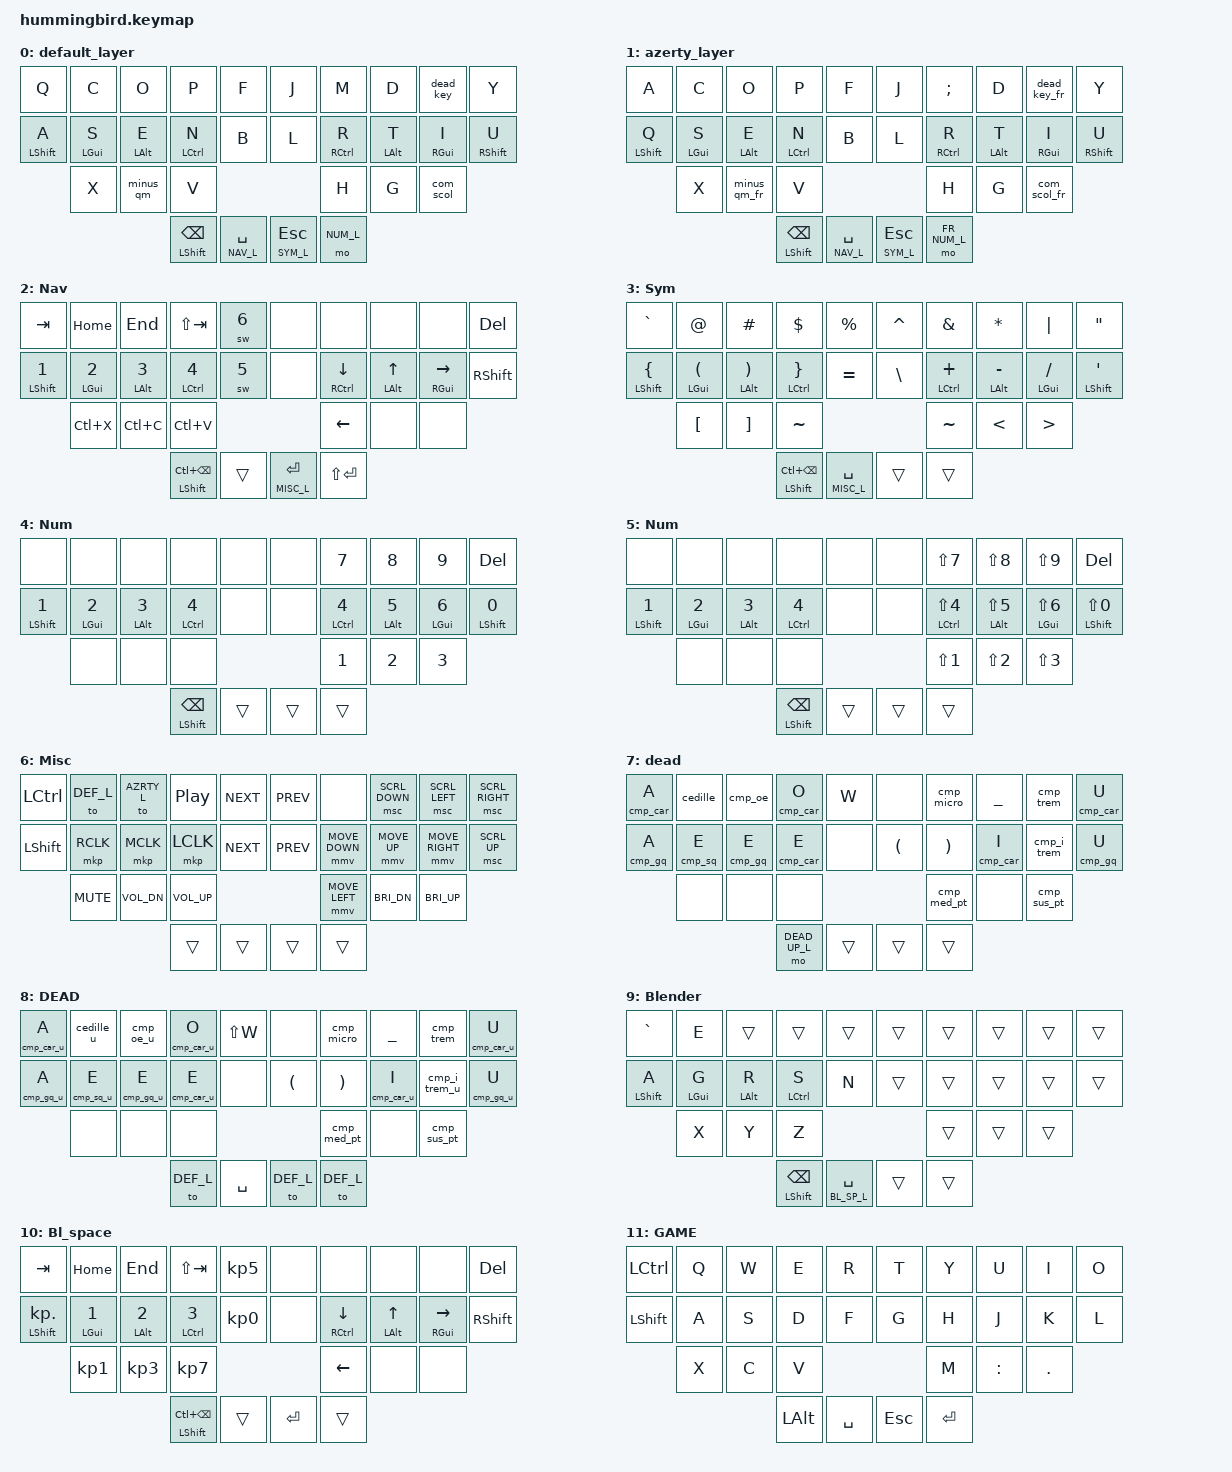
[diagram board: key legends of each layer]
/*
 * Copyright (c) 2022 The ZMK Contributors
 *
 * SPDX-License-Identifier: MIT
 */

#include <behaviors.dtsi>
#include <dt-bindings/zmk/keys.h>
#include <dt-bindings/zmk/pointing.h>

#define DEF_L 0
#define AZRTY_L 1
#define NAV_L 2
#define SYM_L 3
#define NUM_L 4
#define FR_NUM_L 5
#define MISC_L 6
#define DEAD_L 7
#define DEAD_UP_L 8
#define BLENDER_L 9
#define BL_SP_L 10
#define GAME_L 11

#define COMPOSE_KEY RALT

// Using layer taps on thumbs, having quick tap as well helps w/ repeating space/backspace
&lt { quick-tap-ms = <200>; };

/ {
    behaviors {
        hm: homerow_mods {
            compatible = "zmk,behavior-hold-tap";
            #binding-cells = <2>;
            tapping-term-ms = <225>;
            flavor = "tap-preferred";
            bindings = <&kp>, <&kp>;
        };
        hp: hold_preferred {
            compatible = "zmk,behavior-hold-tap";
            #binding-cells = <2>;
            tapping-term-ms = <225>;
            flavor = "hold-preferred";
            bindings = <&kp>, <&kp>;
        };
        swm: switch_workspace_mods {
            compatible = "zmk,behavior-hold-tap";
            #binding-cells = <2>;
            tapping-term-ms = <225>;
            flavor = "tap-preferred";
            bindings = <&kp>, <&sw>;
        };
        lkm: leader_key_mods {
            compatible = "zmk,behavior-hold-tap";
            #binding-cells = <2>;
            tapping-term-ms = <225>;
            flavor = "tap-preferred";
            bindings = <&mo>, <&sl>;
        };

        dot_col: dot_colon {
            compatible = "zmk,behavior-mod-morph";
            #binding-cells = <0>;
            bindings = <&kp DOT>, <&kp COLON>;
            mods = <(MOD_LSFT|MOD_RSFT)>;
        };

        com_scol: comma_semicolon {
            compatible = "zmk,behavior-mod-morph";
            #binding-cells = <0>;
            bindings = <&kp COMMA>, <&kp SEMICOLON>;
            mods = <(MOD_LSFT|MOD_RSFT)>;
        };

        com_scol_fr: comma_semicolon_azerty {
            compatible = "zmk,behavior-mod-morph";
            #binding-cells = <0>;
            bindings = <&kp M>, <&kp COMMA>;
            mods = <(MOD_LSFT|MOD_RSFT)>;
        };

        minus_qm: minus_question {
            compatible = "zmk,behavior-mod-morph";
            #binding-cells = <0>;
            bindings = <&kp MINUS>, <&kp QUESTION>;
            mods = <(MOD_LSFT|MOD_RSFT)>;
        };

        minus_qm_fr: minus_question_azerty {
            compatible = "zmk,behavior-mod-morph";
            #binding-cells = <0>;
            bindings = <&kp N6>, <&kp LS(M)>;
            mods = <(MOD_LSFT|MOD_RSFT)>;
        };

        dead_key: dead_key {
            compatible = "zmk,behavior-mod-morph";
            #binding-cells = <0>;
            bindings = <&sl DEAD_L>, <&kp EXCL>;
            mods = <(MOD_LSFT|MOD_RSFT)>;
        };

        dead_key_fr: dead_key_azerty {
            compatible = "zmk,behavior-mod-morph";
            #binding-cells = <0>;
            bindings = <&sl DEAD_L>, <&kp SLASH>;
            mods = <(MOD_LSFT|MOD_RSFT)>;
        };

        mtd: media_tap_dance {
            compatible = "zmk,behavior-tap-dance";
            #binding-cells = <0>;
            tapping-term-ms = <350>;
            bindings = <&kp C_PP>, <&kp C_NEXT>, <&kp C_PREV>;
        };
    };

    macros {
        sw: switch_workspace {
            compatible = "zmk,behavior-macro-one-param";
            #binding-cells = <1>;
            bindings
                = < &macro_press &kp LGUI >
                , < &macro_press &kp LALT >
                , < &macro_press &kp LSHFT >
                , < &macro_param_1to1 >
                , < &macro_tap &kp MACRO_PLACEHOLDER >
                , < &macro_release &kp LSHFT >
                , < &macro_release &kp LALT >
                , < &macro_release &kp LGUI >
                ;
        };

        cmp_sq: compose_accents_single_quote {
            compatible = "zmk,behavior-macro-one-param";
            #binding-cells = <1>;
            bindings
                = < &macro_tap &kp COMPOSE_KEY >
                , < &macro_tap &kp SINGLE_QUOTE >
                , < &macro_param_1to1 >
                , < &macro_tap &kp MACRO_PLACEHOLDER >
                ;
        };

        cmp_gq: compose_accents_grave_quote {
            compatible = "zmk,behavior-macro-one-param";
            #binding-cells = <1>;
            bindings
                = < &macro_tap &kp COMPOSE_KEY >
                , < &macro_tap &kp GRAVE >
                , < &macro_param_1to1 >
                , < &macro_tap &kp MACRO_PLACEHOLDER >
                ;
        };

        cmp_car: compose_accents_caret {
            compatible = "zmk,behavior-macro-one-param";
            #binding-cells = <1>;
            bindings
                = < &macro_tap &kp COMPOSE_KEY >
                , < &macro_tap &kp CARET >
                , < &macro_param_1to1 >
                , < &macro_tap &kp MACRO_PLACEHOLDER >
                ;
        };

        cedille: compose_cedille {
            compatible = "zmk,behavior-macro";
            #binding-cells = <0>;
            bindings
                = < &macro_tap_time 5>
                , < &macro_tap &kp COMPOSE_KEY >
                , < &macro_tap &kp COMMA >
                , < &macro_tap &kp C >
                ;
        };

        cmp_oe: compose_oe_char {
            compatible = "zmk,behavior-macro";
            #binding-cells = <0>;
            bindings
                = < &macro_tap &kp COMPOSE_KEY >
                , < &macro_tap &kp O >
                , < &macro_tap &kp E >
                ;
        };

        cmp_micro: compose_micro_char {
            compatible = "zmk,behavior-macro";
            #binding-cells = <0>;
            bindings
                = < &macro_tap &kp COMPOSE_KEY >
                , < &macro_tap &kp M >
                , < &macro_tap &kp U >
                ;
        };

        cmp_i_trem: compose_i_trema {
            compatible = "zmk,behavior-macro";
            #binding-cells = <0>;
            bindings
                = < &macro_tap &kp COMPOSE_KEY >
                , < &macro_tap &kp DOUBLE_QUOTES >
                , < &macro_tap &kp I >
                ;
        };

        cmp_trem: compose_trema {
            compatible = "zmk,behavior-macro";
            #binding-cells = <0>;
            bindings
                = < &macro_tap &kp COMPOSE_KEY >
                , < &macro_tap &kp DOUBLE_QUOTES >
                ;
        };

        cmp_sq_u: compose_accents_single_quote_upper {
            compatible = "zmk,behavior-macro-one-param";
            #binding-cells = <1>;
            bindings
                = < &macro_tap &kp COMPOSE_KEY >
                , < &macro_tap &kp SINGLE_QUOTE >
                , < &macro_press &kp LSHFT >
                , < &macro_param_1to1 >
                , < &macro_tap &kp MACRO_PLACEHOLDER >
                , < &macro_release &kp LSHFT >
                ;
        };

        cmp_gq_u: compose_accents_grave_quote_upper {
            compatible = "zmk,behavior-macro-one-param";
            #binding-cells = <1>;
            bindings
                = < &macro_tap &kp COMPOSE_KEY >
                , < &macro_tap &kp GRAVE >
                , < &macro_press &kp LSHFT >
                , < &macro_param_1to1 >
                , < &macro_tap &kp MACRO_PLACEHOLDER >
                , < &macro_release &kp LSHFT >
                ;
        };

        cmp_car_u: compose_accents_caret_upper {
            compatible = "zmk,behavior-macro-one-param";
            #binding-cells = <1>;
            bindings
                = < &macro_tap &kp COMPOSE_KEY >
                , < &macro_tap &kp CARET >
                , < &macro_press &kp LSHFT >
                , < &macro_param_1to1 >
                , < &macro_tap &kp MACRO_PLACEHOLDER >
                , < &macro_release &kp LSHFT >
                ;
        };

        cedille_u: compose_cedille_upper {
            compatible = "zmk,behavior-macro";
            #binding-cells = <0>;
            bindings
                = < &macro_tap &kp COMPOSE_KEY >
                , < &macro_tap &kp COMMA >
                , < &macro_press &kp LSHFT >
                , < &macro_tap &kp C >
                , < &macro_release &kp LSHFT >
                ;
        };

        cmp_oe_u: compose_oe_char_upper {
            compatible = "zmk,behavior-macro";
            #binding-cells = <0>;
            bindings
                = < &macro_tap &kp COMPOSE_KEY >
                , < &macro_press &kp LSHFT >
                , < &macro_tap &kp O >
                , < &macro_tap &kp E >
                , < &macro_release &kp LSHFT >
                ;
        };

        cmp_i_trem_u: compose_i_trema_upper {
            compatible = "zmk,behavior-macro";
            #binding-cells = <0>;
            bindings
                = < &macro_tap &kp COMPOSE_KEY >
                , < &macro_tap &kp DOUBLE_QUOTES >
                , < &macro_press &kp LSHFT >
                , < &macro_tap &kp I >
                , < &macro_release &kp LSHFT >
                ;
        };

        cmp_med_pt: compose_mediant_point {
            compatible = "zmk,behavior-macro";
            #binding-cells = <0>;
            bindings
                = < &macro_tap &kp COMPOSE_KEY >
                , < &macro_tap &kp DOT >
                , < &macro_tap &kp MINUS >
                ;
        };

        cmp_sus_pt: compose_suspended_point {
            compatible = "zmk,behavior-macro";
            #binding-cells = <0>;
            bindings
                = < &macro_tap &kp COMPOSE_KEY >
                , < &macro_tap &kp DOT >
                , < &macro_tap &kp DOT >
                ;
        };

        wh_key: wh_key {
            compatible = "zmk,behavior-macro";
            #binding-cells = <0>;
            bindings
                = < &macro_tap &kp W >
                , < &macro_tap &kp H >
                ;
        };
    };

    combos {
        compatible = "zmk,combos";

        combo_z {
            timeout-ms = <50>;
            key-positions = <0 10>;
            bindings = <&kp Z>;
        };

        combo_w {
            timeout-ms = <50>;
            key-positions = <3 13>;
            bindings = <&kp W>;
        };

        combo_k {
            timeout-ms = <50>;
            key-positions = <9 19>;
            bindings = <&kp K>;
        };

        combo_dot {
            timeout-ms = <20>;
            key-positions = <23 24>;
            bindings = <&dot_col>;
        };

        combo_col {
            timeout-ms = <20>;
            key-positions = <24 25>;
            bindings = <&kp COLON>;
        };

        combo_gaming {
            timeout-ms = <50>;
            key-positions = <20 21 22>;
            bindings = <&tog GAME_L>;
        };

        combo_media_keys_left {
            timeout-ms = <50>;
            key-positions = <1 2 3>;
            bindings = <&mtd>;
        };

        combo_media_keys_right {
            timeout-ms = <50>;
            key-positions = <6 7 8>;
            bindings = <&mtd>;
        };

        combo_blender {
            timeout-ms = <25>;
            key-positions = <11 12 13>;
            bindings = <&tog BLENDER_L>;
        };
    };

    keymap {
        compatible = "zmk,keymap";

        default_layer {
            bindings = <
                &kp Q       &kp C      &kp O      &kp P          &kp F            &kp J         &kp M       &kp D      &dead_key  &kp Y
                &hm LSHFT A &hm LGUI S &hm LALT E &hm LCTRL N    &kp B            &kp L         &hm RCTRL R &hm LALT T &hm RGUI I &hm RSHFT U
                            &kp X      &minus_qm  &kp V                                         &kp H       &kp G      &com_scol
                                              &hp LSHFT BSPC     &lt NAV_L SPACE  &lt SYM_L ESC &mo NUM_L
            >;
        };

        azerty_layer {
            bindings = <
                &kp A       &kp C      &kp O        &kp P          &kp F            &kp J         &kp SEMI    &kp D      &dead_key_fr &kp Y
                &hm LSHFT Q &hm LGUI S &hm LALT E   &hm LCTRL N    &kp B            &kp L         &hm RCTRL R &hm LALT T &hm RGUI I   &hm RSHFT U
                            &kp X      &minus_qm_fr &kp V                                         &kp H       &kp G      &com_scol_fr
                                              &hp   LSHFT BSPC     &lt NAV_L SPACE  &lt SYM_L ESC &mo FR_NUM_L
            >;
        };

        nav_layer {
            display-name = "Nav";
            bindings = <
                &kp TAB        &kp HOME      &kp END       &kp LS(TAB)   &sw N6        &none          &none          &none         &none          &kp DELETE
                &swm LSHFT N1  &swm LGUI N2  &swm LALT N3  &swm LCTRL N4 &sw N5        &none          &hm RCTRL DOWN &hm LALT UP   &hm RGUI RIGHT &kp RSHFT
                               &kp LC(X)     &kp LC(C)     &kp LC(V)                                  &kp LEFT       &none         &none
                                                           &hp LSHFT LC(BSPC) &trans   &lt MISC_L RET &kp LS(RET)
            >;
        };

        sym_layer {
            display-name = "Sym";
            bindings = <
                &kp GRAVE       &kp AT_SIGN    &kp HASH       &kp DOLLAR      &kp PERCENT      &kp CARET     &kp AMPERSAND   &kp ASTERISK    &kp PIPE        &kp DOUBLE_QUOTES
                &hm LSHFT LBRC  &hm LGUI LPAR  &hm LALT RPAR  &hm LCTRL RBRC  &kp EQUAL        &kp BACKSLASH &hm LCTRL PLUS  &hm LALT MINUS  &hm LGUI SLASH  &hm LSHFT SINGLE_QUOTE
                                &kp LBKT       &kp RBKT       &kp TILDE                                      &kp TILDE       &kp LESS_THAN   &kp GREATER_THAN
                                                           &hp LSHFT LC(BSPC) &lt MISC_L SPACE &trans        &trans
            >;
        };

        num_layer {
            display-name = "Num";
            bindings = <
                &none        &none       &none       &none        &none           &none         &kp N7       &kp N8      &kp N9      &kp DELETE
                &hm LSHFT N1 &hm LGUI N2 &hm LALT N3 &hm LCTRL N4 &none           &none         &hm LCTRL N4 &hm LALT N5 &hm LGUI N6 &hm LSHFT N0
                             &none       &none       &none                                      &kp N1       &kp N2      &kp N3
                                                     &hp LSHFT BSPC &trans        &trans        &trans
            >;
        };

        fr_num_layer {
            display-name = "Num";
            bindings = <
                &none        &none       &none       &none        &none           &none         &kp LS(N7)       &kp LS(N8)      &kp LS(N9)      &kp DELETE
                &hm LSHFT N1 &hm LGUI N2 &hm LALT N3 &hm LCTRL N4 &none           &none         &hm LCTRL LS(N4) &hm LALT LS(N5) &hm LGUI LS(N6) &hm LSHFT LS(N0)
                             &none       &none       &none                                      &kp LS(N1)       &kp LS(N2)      &kp LS(N3)
                                                     &hp LSHFT BSPC &trans        &trans        &trans
            >;
        };

        misc_layer {
            display-name = "Misc";
            bindings = <
                &kp LCTRL   &to DEF_L  &to AZRTY_L  &kp C_PP       &kp C_NEXT       &kp C_PREV    &none          &msc SCRL_DOWN &msc SCRL_LEFT &msc SCRL_RIGHT
                &kp LSHFT   &mkp RCLK  &mkp MCLK    &mkp LCLK      &kp C_NEXT       &kp C_PREV    &mmv MOVE_DOWN &mmv MOVE_UP  &mmv MOVE_RIGHT &msc SCRL_UP
                            &kp C_MUTE &kp C_VOL_DN &kp C_VOL_UP                                  &mmv MOVE_LEFT &kp C_BRI_DN  &kp C_BRI_UP
                                                    &trans         &trans           &trans        &trans
            >;
        };

        dead_key_layer {
            display-name = "dead";
            bindings = <
                &cmp_car A  &cedille   &cmp_oe      &cmp_car O     &kp W            &none         &cmp_micro     &kp UNDER     &cmp_trem      &cmp_car U
                &cmp_gq A   &cmp_sq E  &cmp_gq E    &cmp_car E     &none            &kp LPAR      &kp RPAR       &cmp_car I    &cmp_i_trem    &cmp_gq U
                            &none      &none        &none                                         &cmp_med_pt    &none         &cmp_sus_pt
                                                    &mo DEAD_UP_L  &trans           &trans        &trans
            >;
        };

        upper_dead_key_layer {
            display-name = "DEAD";
            bindings = <
                &cmp_car_u A &cedille_u &cmp_oe_u    &cmp_car_u O   &kp LS(W)        &none         &cmp_micro     &kp UNDER     &cmp_trem      &cmp_car_u U
                &cmp_gq_u A  &cmp_sq_u E &cmp_gq_u E &cmp_car_u E   &none            &kp LPAR      &kp RPAR       &cmp_car_u I  &cmp_i_trem_u  &cmp_gq_u U
                             &none      &none        &none                                         &cmp_med_pt    &none         &cmp_sus_pt
                                                     &to DEF_L      &kp SPACE        &to DEF_L     &to DEF_L
            >;
        };

        blender_layer {
            display-name = "Blender";
            bindings = <
                &kp GRAVE   &kp E      &trans     &trans         &trans            &trans        &trans      &trans     &trans     &trans
                &hm LSHFT A &hm LGUI G &hm LALT R &hm LCTRL S    &kp N             &trans        &trans      &trans     &trans     &trans
                            &kp X      &kp Y      &kp Z                                          &trans      &trans     &trans
                                              &hp LSHFT BSPC     &lt BL_SP_L SPACE &trans        &trans
            >;
        };

        blender_space_layer {
            display-name = "Bl_space";
            bindings = <
                &kp TAB          &kp HOME      &kp END       &kp LS(TAB)   &kp KP_N5        &none      &none          &none         &none          &kp DELETE
                &hm LSHFT KP_DOT &hm LGUI N1   &hm LALT N2   &hm LCTRL N3  &kp KP_N0        &none      &hm RCTRL DOWN &hm LALT UP   &hm RGUI RIGHT &kp RSHFT
                                 &kp KP_N1     &kp KP_N3     &kp KP_N7                                 &kp LEFT       &none         &none
                                                             &hp LSHFT LC(BSPC) &trans      &kp RET    &trans
            >;
        };

        gaming_layer {
            display-name = "GAME";
            bindings = <
                &kp LCTRL  &kp Q  &kp W  &kp E  &kp R  &kp T  &kp Y  &kp U  &kp I     &kp O
                &kp LSHIFT &kp A  &kp S  &kp D  &kp F  &kp G  &kp H  &kp J  &kp K     &kp L
                           &kp X  &kp C  &kp V                &kp M  &kp COLON &kp DOT
                                  &kp LALT  &kp SPACE  &kp ESCAPE &kp ENTER
            >;
        };
    };
};
